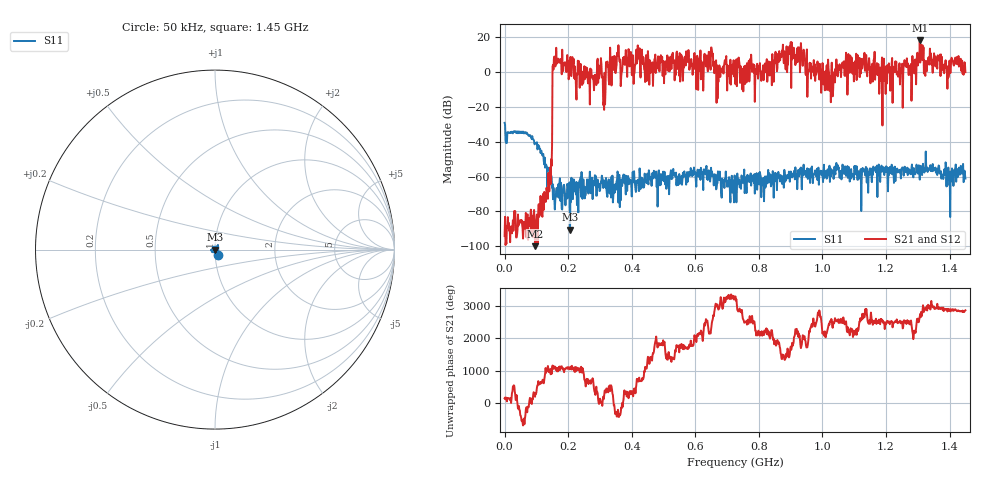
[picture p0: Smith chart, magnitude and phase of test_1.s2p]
! Created with skrf 1.11.0 (http://scikit-rf.org).
# Hz S RI R 50.0
!freq ReS11 ImS11 ReS21 ImS21 ReS12 ImS12 ReS22 ImS22
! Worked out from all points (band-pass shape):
!   1001 points, 50 kHz to 1.45 GHz, reference 50 ohm
!   highest |S21| = 18.14 dB at 1.306 GHz (marker M1); lowest = -100.0 dB at 97.2 MHz (marker M2)
!   |S21| within 3 dB of the highest: 358.1291 MHz to 358.256 MHz (127 kHz wide, 0.0354 % of centre); 1.309309 GHz to 1.310942 GHz (1.633 MHz wide, 0.125 % of centre) (the widest 2 of 9)
!   lowest |S11| = -90.5 dB at 205.9 MHz (marker M3), VSWR 1.00, Z = 50 - j0.0029 ohm
!   |S11| at or under -10 dB: start of sweep to end of sweep
!   |S22| runs from - to - dB; largest |S21 - S12| = 0
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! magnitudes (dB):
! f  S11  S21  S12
! 50 kHz  -29.2  -94.2  -94.2
! 97.2 MHz  -40.9  -100.0  -100.0
! 140.7 MHz  -57.1  -68.5  -68.5
! 158.1 MHz  -78.9  5.1  5.1
! 205.9 MHz  -90.5  0.4  0.4
! 242.2 MHz  -57.4  0.4  0.4
! 298.7 MHz  -68.3  -2.4  -2.4
! 313.2 MHz  -64.7  -21.7  -21.7
! 352.4 MHz  -62.7  4.1  4.1
! 484.3 MHz  -56.7  2.2  2.2
! 633.7 MHz  -57.6  3.2  3.2
! 649.6 MHz  -55.0  14.1  14.1
! 674.3 MHz  -60.2  0.1  0.1
! 725 MHz  -60.5  5.9  5.9
! 903.4 MHz  -58.1  17.0  17.0
! 967.2 MHz  -54.2  0.1  0.1
! 1.03 GHz  -56.1  5.4  5.4
! 1.131 GHz  -55.8  8.3  8.3
! 1.209 GHz  -59.1  5.0  5.0
! 1.288 GHz  -55.2  6.2  6.2
! 1.306 GHz  -61.8  18.1  18.1
! 1.45 GHz  -61.2  -0.1  -0.1
